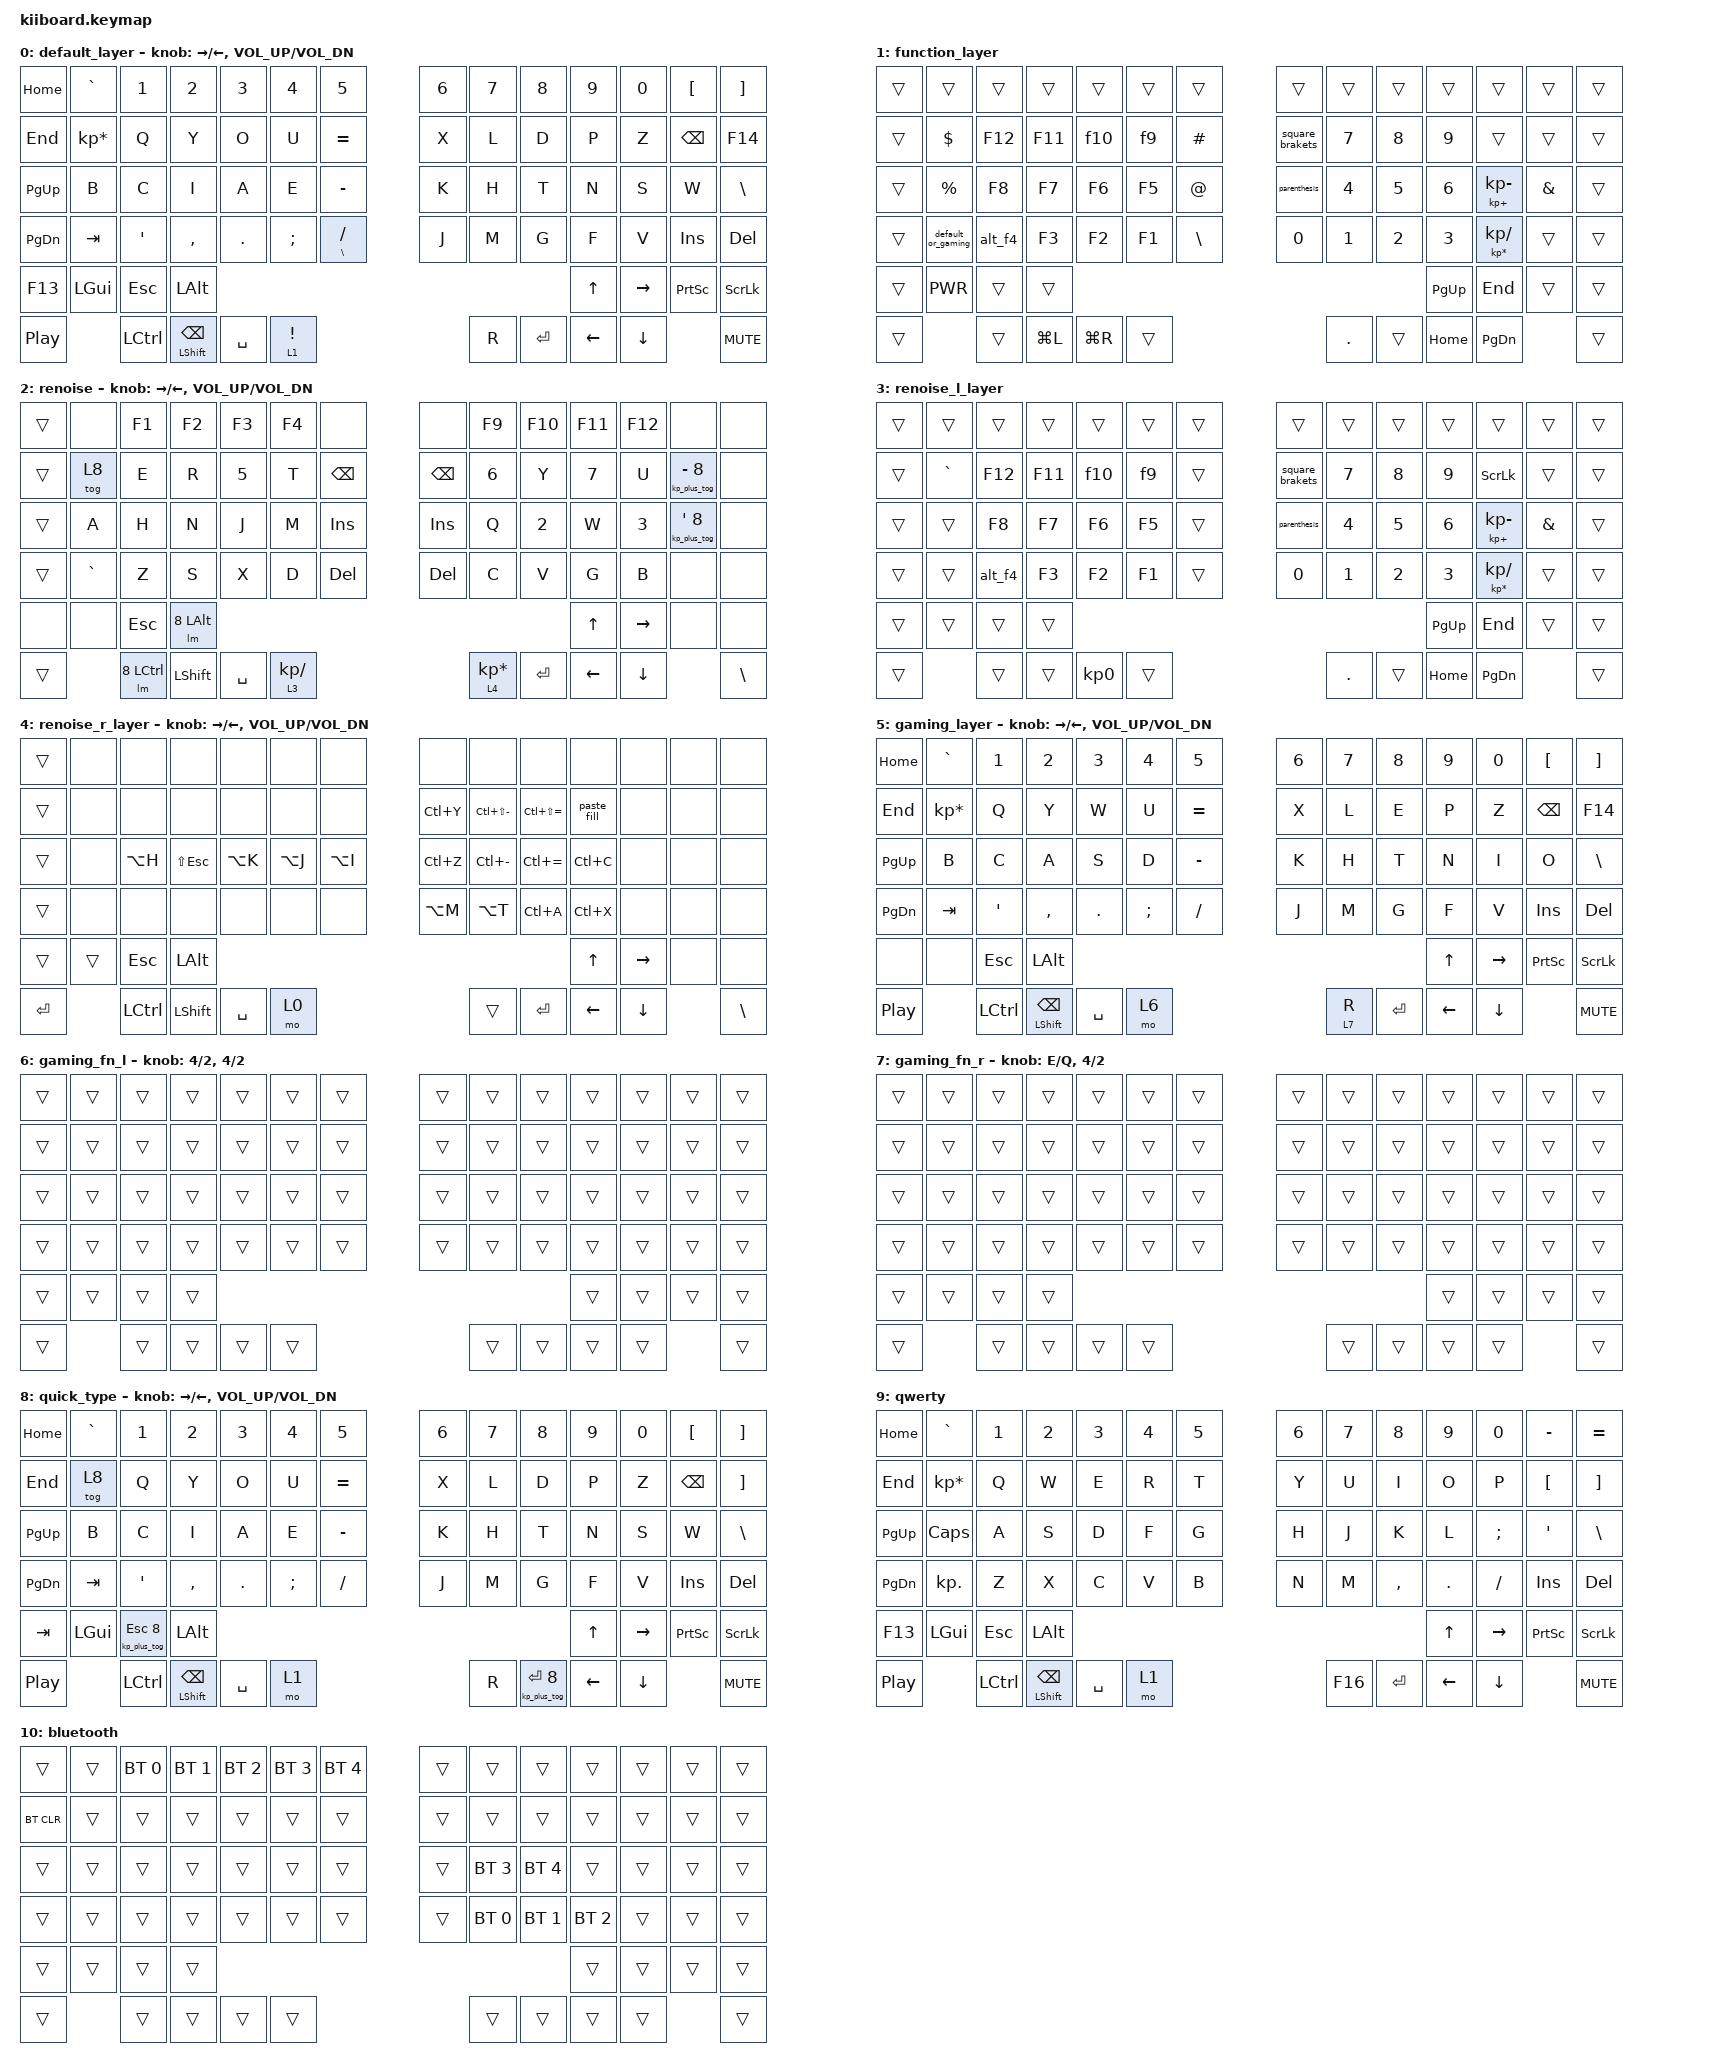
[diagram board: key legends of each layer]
#include <behaviors.dtsi>
#include <dt-bindings/zmk/bt.h>
#include <dt-bindings/zmk/keys.h>

&mt { tapping-term-ms = <150>; };

&lt { flavor = "hold-preferred"; };

/ {
    combos {
        compatible = "zmk,combos";

        bluetooth {
            bindings = <&mo 9>;
            key-positions = <8 12>;
            layers = <0>;
        };

        copy {
            bindings = <&kp LC(C)>;
            key-positions = <17 18>;
            layers = <0 2>;
            timeout-ms = <20>;
            require-prior-idle-ms = <20>;
        };

        paste {
            bindings = <&kp LC(V)>;
            key-positions = <18 19>;
            layers = <0 2>;
            timeout-ms = <20>;
            require-prior-idle-ms = <20>;
        };

        cut {
            bindings = <&kp LC(X)>;
            key-positions = <17 19>;
            layers = <0 2>;
            require-prior-idle-ms = <20>;
            timeout-ms = <20>;
        };

        undo {
            bindings = <&kp LC(Z)>;
            key-positions = <45 44>;
            layers = <0 2>;
            timeout-ms = <30>;
            require-prior-idle-ms = <30>;
        };

        redo {
            bindings = <&kp LC(Y)>;
            key-positions = <46 47>;
            layers = <0 2>;
            timeout-ms = <30>;
            require-prior-idle-ms = <30>;
        };

        redo_alt {
            bindings = <&kp LC(LS(Z))>;
            key-positions = <46 47 45>;
            layers = <0>;
            timeout-ms = <30>;
            require-prior-idle-ms = <30>;
        };

        to_bootloader {
            bindings = <&bootloader>;
            key-positions = <56 13 63 0>;
        };

        toggle_reference_track {
            bindings = <&kp KP_DOT>;
            key-positions = <70 69>;
            layers = <2>;
        };

        save {
            bindings = <&kp LC(S)>;
            key-positions = <47 46 45 44>;
            timeout-ms = <30>;
            require-prior-idle-ms = <30>;
            layers = <0 2>;
        };

        renoise_layer {
            bindings = <&tog 2>;
            key-positions = <55 63>;
        };

        gaming_layer {
            bindings = <&tog 5>;
            key-positions = <55 63 41>;
        };

        caps_lock {
            bindings = <&kp CAPS>;
            key-positions = <58 66>;
            timeout-ms = <30>;
            require-prior-idle-ms = <30>;
            layers = <0>;
        };
    };

    macros {
        kp_plus_tog: kp_plus_to {
            /**
            * Executes a keypress of choosing. Then toggles a chosen layer.
            *
            *
            * Params:
            *  1. Desired keypress
            *  2. Layer to toggle
            *
            * Example:
            *  `&kp_plus_to KEYPRESS NUM_LAYER`
            */

            compatible = "zmk,behavior-macro-two-param";
            wait-ms = <0>;
            tap-ms = <0>;
            #binding-cells = <2>;
            bindings =
                <&macro_param_1to1>,
                <&macro_tap>,
                <&kp MACRO_PLACEHOLDER &macro_param_2to1>,
                <&macro_tap>,
                <&tog MACRO_PLACEHOLDER>;
        };

        mo_plus_ctrl: mo_plus_ctrl {
            /**
            * Switches to a layer (`&mo`) while a holding CTRL.
            * Goes to another layer after release. Generally used to return to the initial layer, hence "mo".
            *
            * Params:
            *  1. Layer to switch to
            *  2. Layer to return to
            *
            * Example:
            *  `&mo_plus_ctrl NUM_LAYER NUM_LAYER`
            */

            compatible = "zmk,behavior-macro-two-param";
            wait-ms = <0>;
            tap-ms = <0>;
            #binding-cells = <2>;
            bindings =
                <&macro_param_1to1>,
                <&macro_tap>,
                <&to MACRO_PLACEHOLDER>,
                <&macro_press>,
                <&kp LCTRL>,
                <&macro_pause_for_release>,
                <&macro_release>,
                <&kp LCTRL &macro_param_2to1>,
                <&macro_tap>,
                <&to MACRO_PLACEHOLDER>;
        };

        lm: lm {
            /**
             * Temporarily switches to a layer (`&mo`) while a modifier is held.
             * Analogous to QMK's `LM()`, using a parameterized macro.
             *
             * Params:
             *  1. Layer to switch to
             *  2. Modifier to press while layer is active
             *
             * Example:
             *  `&lm NUM_LAYER LSHIFT`
             */

            compatible = "zmk,behavior-macro-two-param";
            wait-ms = <0>;
            tap-ms = <0>;
            #binding-cells = <2>;
            bindings =
                <&macro_param_1to1>,
                <&macro_press>,
                <&mo MACRO_PLACEHOLDER &macro_param_2to1>,
                <&macro_press>,
                <&kp MACRO_PLACEHOLDER>,
                <&macro_pause_for_release>,
                <&macro_param_2to1>,
                <&macro_release>,
                <&kp MACRO_PLACEHOLDER &macro_param_1to1>,
                <&macro_release>,
                <&mo MACRO_PLACEHOLDER>;
        };
    };

    behaviors {
        alt_f4: alt_f4 {
            compatible = "zmk,behavior-tap-dance";
            label = "ALT_F4";
            #binding-cells = <0>;
            bindings = <&kp F4>, <&kp LA(F4)>;
        };

        paste_fill: paste_fill {
            compatible = "zmk,behavior-tap-dance";
            label = "PASTE_FILL";
            #binding-cells = <0>;
            bindings = <&kp LC(V)>, <&kp LC(P)>;
        };

        parenthesis: parenthesis {
            compatible = "zmk,behavior-tap-dance";
            label = "PARENTHESIS";
            #binding-cells = <0>;
            bindings = <&kp LEFT_PARENTHESIS>, <&kp RIGHT_PARENTHESIS>;
        };

        square_brakets: square_brakets {
            compatible = "zmk,behavior-tap-dance";
            label = "SQUARE_BRAKETS";
            #binding-cells = <0>;
            bindings = <&kp LEFT_BRACKET>, <&kp RIGHT_BRACKET>;
        };

        f9: f9 {
            compatible = "zmk,behavior-tap-dance";
            label = "F9";
            #binding-cells = <0>;
            bindings = <&kp F9>, <&kp C_NEXT>;
        };

        f10: f10 {
            compatible = "zmk,behavior-tap-dance";
            label = "F10";
            #binding-cells = <0>;
            bindings = <&kp F10>, <&kp C_PREV>;
        };

        typing_or_default: typing_or_default {
            compatible = "zmk,behavior-tap-dance";
            label = "TYPING_OR_DEFAULT";
            #binding-cells = <0>;
            bindings = <&to 0>, <&to 0>;
        };

        default_or_gaming: default_or_gaming {
            compatible = "zmk,behavior-tap-dance";
            label = "DEFAULT_OR_GAMING";
            #binding-cells = <0>;
            bindings = <&to 0>, <&to 5>;
        };
    };

    keymap {
        compatible = "zmk,keymap";

        default_layer {
            // ---------------------------------------------------------------------------------------------------------------------------------------------------------------
            // |  HOME   |    `    |    1    |    2    |    3    |    4    |    5    |                 |    6    |    7    |    8    |    9    |    0    |    [    |    ]    |
            // |   END   |    *    |    Q    |    Y    |    O    |    U    |    =    |                 |    X    |    L    |    D    |    P    |    Z    |   BACK  |    ]    |
            // |  PGUP   |    B    |    C    |    I    |    A    |    E    |    -    |                 |    K    |    H    |    T    |　  N    |    S    |    W    |    /    |
            // |  PGDWN  |    .    |    '    |    ,    |    .    |    ;    |    /    |                 |    J    |    M    |    G    |    F    |    V    |   INS   |   DEL   |
            // |    ?    |    ?    |   ESC   |   ALT   |                                                                             |    UP   |  RIGHT  |  PSCRN  |   SLCK  |
            // |   ENC   |         |   CTL   |   SFT   |   SPC   |    ?    |                                     |    R    |   ENT   |   LFT   |   DWN   |         |   ENC   |

            bindings = <
&kp HOME   &kp GRAVE        &kp N1     &kp N2           &kp N3     &kp N4      &kp N5               &kp N6  &kp N7  &kp N8   &kp N9    &kp N0     &kp LBKT   &kp RBKT
&kp END    &kp KP_MULTIPLY  &kp Q      &kp Y            &kp O      &kp U       &kp EQUAL            &kp X   &kp L   &kp D    &kp P     &kp Z      &kp BSPC   &kp F14
&kp PG_UP  &kp B            &kp C      &kp I            &kp A      &kp E       &kp MINUS            &kp K   &kp H   &kp T    &kp N     &kp S      &kp W      &kp BACKSLASH
&kp PG_DN  &kp TAB          &kp SQT    &kp COMMA        &kp DOT    &kp SEMI    &mt BACKSLASH SLASH  &kp J   &kp M   &kp G    &kp F     &kp V      &kp INS    &kp DEL
&kp F13    &kp LGUI         &kp ESC    &kp LALT                                                                              &kp UP    &kp RIGHT  &kp PSCRN  &kp SLCK
&kp C_PP                    &kp LCTRL  &mt LSHIFT BSPC  &kp SPACE  &lt 1 EXCL                               &kp R   &kp RET  &kp LEFT  &kp DOWN              &kp C_MUTE
            >;

            sensor-bindings = <&inc_dec_kp RIGHT LEFT &inc_dec_kp C_VOL_UP C_VOL_DN>;
        };

        function_layer {
            bindings = <
&trans  &trans              &trans   &trans     &trans     &trans  &trans         &trans           &trans      &trans  &trans     &trans                     &trans    &trans
&trans  &kp DOLLAR          &kp F12  &kp F11    &f10       &f9     &kp POUND      &square_brakets  &kp N7      &kp N8  &kp N9     &trans                     &trans    &trans
&trans  &kp PERCENT         &kp F8   &kp F7     &kp F6     &kp F5  &kp AT         &parenthesis     &kp N4      &kp N5  &kp N6     &mt KP_PLUS KP_MINUS       &kp AMPS  &trans
&trans  &default_or_gaming  &alt_f4  &kp F3     &kp F2     &kp F1  &kp BACKSLASH  &kp N0           &kp N1      &kp N2  &kp N3     &mt KP_MULTIPLY KP_DIVIDE  &trans    &trans
&trans  &kp C_PWR           &trans   &trans                                                                            &kp PG_UP  &kp END                    &trans    &trans
&trans                      &trans   &kp LG(L)  &kp LG(R)  &trans                                  &kp PERIOD  &trans  &kp HOME   &kp PG_DN                            &trans
            >;
        };

        renoise {
            bindings = <
&trans  &none      &kp F1       &kp F2          &kp F3     &kp F4           &none     &none          &kp F9             &kp F10    &kp F11   &kp F12    &none                 &none
&trans  &tog 8     &kp E        &kp R           &kp N5     &kp T            &kp BSPC  &kp BACKSPACE  &kp N6             &kp Y      &kp N7    &kp U      &kp_plus_tog MINUS 8  &none
&trans  &kp A      &kp H        &kp N           &kp J      &kp M            &kp INS   &kp INSERT     &kp Q              &kp N2     &kp W     &kp N3     &kp_plus_tog SQT 8    &none
&trans  &kp GRAVE  &kp Z        &kp S           &kp X      &kp D            &kp DEL   &kp DEL        &kp C              &kp V      &kp G     &kp B      &none                 &none
&none   &none      &kp ESC      &lm 8 LALT                                                                                         &kp UP    &kp RIGHT  &none                 &none
&trans             &lm 8 LCTRL  &kp LEFT_SHIFT  &kp SPACE  &lt 3 KP_DIVIDE                           &lt 4 KP_ASTERISK  &kp ENTER  &kp LEFT  &kp DOWN                         &kp BSLH
            >;

            sensor-bindings =
                <&inc_dec_kp RIGHT LEFT>,
                <&inc_dec_kp C_VOL_UP C_VOL_DN>;
        };

        renoise_l_layer {
            bindings = <
&trans  &trans     &trans   &trans   &trans     &trans  &trans  &trans           &trans      &trans  &trans     &trans                     &trans    &trans
&trans  &kp GRAVE  &kp F12  &kp F11  &f10       &f9     &trans  &square_brakets  &kp N7      &kp N8  &kp N9     &kp SCROLLLOCK             &trans    &trans
&trans  &trans     &kp F8   &kp F7   &kp F6     &kp F5  &trans  &parenthesis     &kp N4      &kp N5  &kp N6     &mt KP_PLUS KP_MINUS       &kp AMPS  &trans
&trans  &trans     &alt_f4  &kp F3   &kp F2     &kp F1  &trans  &kp N0           &kp N1      &kp N2  &kp N3     &mt KP_MULTIPLY KP_DIVIDE  &trans    &trans
&trans  &trans     &trans   &trans                                                                   &kp PG_UP  &kp END                    &trans    &trans
&trans             &trans   &trans   &kp KP_N0  &trans                           &kp PERIOD  &trans  &kp HOME   &kp PG_DN                            &trans
            >;
        };

        renoise_r_layer {
            bindings = <
&trans     &none   &none             &none           &none      &none      &none      &none      &none              &none              &none        &none      &none  &none
&trans     &none   &none             &none           &none      &none      &none      &kp LC(Y)  &kp LC(LS(MINUS))  &kp LC(LS(EQUAL))  &paste_fill  &none      &none  &none
&trans     &none   &kp LA(H)         &kp LS(ESCAPE)  &kp LA(K)  &kp LA(J)  &kp LA(I)  &kp LC(Z)  &kp LC(MINUS)      &kp LC(EQUAL)      &kp LC(C)    &none      &none  &none
&trans     &none   &none             &none           &none      &none      &none      &kp LA(M)  &kp LA(T)          &kp LC(A)          &kp LC(X)    &none      &none  &none
&trans     &trans  &kp ESC           &kp LEFT_ALT                                                                                      &kp UP       &kp RIGHT  &none  &none
&kp ENTER          &kp LEFT_CONTROL  &kp LEFT_SHIFT  &kp SPACE  &mo 0                            &trans             &kp ENTER          &kp LEFT     &kp DOWN          &kp BSLH
            >;

            sensor-bindings =
                <&inc_dec_kp RIGHT LEFT>,
                <&inc_dec_kp C_VOL_UP C_VOL_DN>;
        };

        gaming_layer {
            bindings = <
&kp HOME   &kp GRAVE        &kp N1     &kp N2           &kp N3     &kp N4    &kp N5     &kp N6  &kp N7   &kp N8   &kp N9    &kp N0     &kp LBKT   &kp RBKT
&kp END    &kp KP_MULTIPLY  &kp Q      &kp Y            &kp W      &kp U     &kp EQUAL  &kp X   &kp L    &kp E    &kp P     &kp Z      &kp BSPC   &kp F14
&kp PG_UP  &kp B            &kp C      &kp A            &kp S      &kp D     &kp MINUS  &kp K   &kp H    &kp T    &kp N     &kp I      &kp O      &kp BACKSLASH
&kp PG_DN  &kp TAB          &kp SQT    &kp COMMA        &kp DOT    &kp SEMI  &kp SLASH  &kp J   &kp M    &kp G    &kp F     &kp V      &kp INS    &kp DEL
&none      &none            &kp ESC    &kp LALT                                                                   &kp UP    &kp RIGHT  &kp PSCRN  &kp SLCK
&kp C_PP                    &kp LCTRL  &mt LSHIFT BSPC  &kp SPACE  &mo 6                        &lt 7 R  &kp RET  &kp LEFT  &kp DOWN              &kp C_MUTE
            >;

            sensor-bindings =
                <&inc_dec_kp RIGHT LEFT>,
                <&inc_dec_kp C_VOL_UP C_VOL_DN>;
        };

        gaming_fn_l {
            bindings = <
&trans  &trans  &trans  &trans  &trans  &trans  &trans  &trans  &trans  &trans  &trans  &trans  &trans  &trans
&trans  &trans  &trans  &trans  &trans  &trans  &trans  &trans  &trans  &trans  &trans  &trans  &trans  &trans
&trans  &trans  &trans  &trans  &trans  &trans  &trans  &trans  &trans  &trans  &trans  &trans  &trans  &trans
&trans  &trans  &trans  &trans  &trans  &trans  &trans  &trans  &trans  &trans  &trans  &trans  &trans  &trans
&trans  &trans  &trans  &trans                                                  &trans  &trans  &trans  &trans
&trans          &trans  &trans  &trans  &trans                  &trans  &trans  &trans  &trans          &trans
            >;

            sensor-bindings = <&inc_dec_kp N4 N2>, <&inc_dec_kp N4 NUMBER_2>;
        };

        gaming_fn_r {
            bindings = <
&trans  &trans  &trans  &trans  &trans  &trans  &trans  &trans  &trans  &trans  &trans  &trans  &trans  &trans
&trans  &trans  &trans  &trans  &trans  &trans  &trans  &trans  &trans  &trans  &trans  &trans  &trans  &trans
&trans  &trans  &trans  &trans  &trans  &trans  &trans  &trans  &trans  &trans  &trans  &trans  &trans  &trans
&trans  &trans  &trans  &trans  &trans  &trans  &trans  &trans  &trans  &trans  &trans  &trans  &trans  &trans
&trans  &trans  &trans  &trans                                                  &trans  &trans  &trans  &trans
&trans          &trans  &trans  &trans  &trans                  &trans  &trans  &trans  &trans          &trans
            >;

            sensor-bindings = <&inc_dec_kp E Q>, <&inc_dec_kp N4 NUMBER_2>;
        };

        quick_type {
            bindings = <
&kp HOME   &kp GRAVE  &kp N1              &kp N2           &kp N3     &kp N4    &kp N5     &kp N6  &kp N7  &kp N8                &kp N9    &kp N0     &kp LBKT   &kp RBKT
&kp END    &tog 8     &kp Q               &kp Y            &kp O      &kp U     &kp EQUAL  &kp X   &kp L   &kp D                 &kp P     &kp Z      &kp BSPC   &kp RBKT
&kp PG_UP  &kp B      &kp C               &kp I            &kp A      &kp E     &kp MINUS  &kp K   &kp H   &kp T                 &kp N     &kp S      &kp W      &kp BACKSLASH
&kp PG_DN  &kp TAB    &kp SQT             &kp COMMA        &kp DOT    &kp SEMI  &kp SLASH  &kp J   &kp M   &kp G                 &kp F     &kp V      &kp INS    &kp DEL
&kp TAB    &kp LGUI   &kp_plus_tog ESC 8  &kp LALT                                                                               &kp UP    &kp RIGHT  &kp PSCRN  &kp SLCK
&kp C_PP              &kp LCTRL           &mt LSHIFT BSPC  &kp SPACE  &mo 1                        &kp R   &kp_plus_tog ENTER 8  &kp LEFT  &kp DOWN              &kp C_MUTE
            >;

            sensor-bindings =
                <&inc_dec_kp RIGHT LEFT>,
                <&inc_dec_kp C_VOL_UP C_VOL_DN>;
        };

        qwerty {
            // ---------------------------------------------------------------------------------------------------------------------------------------------------------------
            // |  HOME   |    `    |    1    |    2    |    3    |    4    |    5    |                 |    6    |    7    |    8    |    9    |    0    |    -    |    =    |
            // |   END   |    *    |    Q    |    W    |    E    |    R    |    T    |                 |    Y    |    U    |    I    |    O    |    P    |    [    |    ]    |
            // |  PGUP   |    -    |    A    |    S    |    D    |    F    |    G    |                 |    H    |    J    |    K    |　  L    |    ;    |    '    |    /    |
            // |  PGDWN  |    .    |    Z    |    X    |    C    |    V    |    B    |                 |    N    |    M    |    ,    |    .    |    /    |   INS   |   DEL   |
            // |    ?    |    ?    |   ESC   |   ALT   |                                                                             |    UP   |  RIGHT  |  PSCRN  |   SLCK  |
            // |   ENC   |         |   CTL   |   SFT   |   SPC   |    ?    |                                     |    ?    |   ENT   |   LFT   |   DWN   |         |   ENC   |

            bindings = <
&kp HOME   &kp GRAVE        &kp N1     &kp N2                    &kp N3     &kp N4  &kp N5  &kp N6  &kp N7   &kp N8     &kp N9    &kp N0     &kp MINUS  &kp EQUAL
&kp END    &kp KP_MULTIPLY  &kp Q      &kp W                     &kp E      &kp R   &kp T   &kp Y   &kp U    &kp I      &kp O     &kp P      &kp LBKT   &kp RBKT
&kp PG_UP  &kp CAPS         &kp A      &kp S                     &kp D      &kp F   &kp G   &kp H   &kp J    &kp K      &kp L     &kp SEMI   &kp SQT    &kp BACKSLASH
&kp PG_DN  &kp KP_DOT       &kp Z      &kp X                     &kp C      &kp V   &kp B   &kp N   &kp M    &kp COMMA  &kp DOT   &kp SLASH  &kp INS    &kp DEL
&kp F13    &kp LEFT_GUI     &kp ESC    &kp LALT                                                                         &kp UP    &kp RIGHT  &kp PSCRN  &kp SLCK
&kp C_PP                    &kp LCTRL  &mt LEFT_SHIFT BACKSPACE  &kp SPACE  &mo 1                   &kp F16  &kp RET    &kp LEFT  &kp DOWN              &kp C_MUTE
            >;
        };

        bluetooth {
            bindings = <
&trans      &trans  &bt BT_SEL 0  &bt BT_SEL 1  &bt BT_SEL 2  &bt BT_SEL 3  &bt BT_SEL 4  &trans  &trans        &trans        &trans        &trans  &trans  &trans
&bt BT_CLR  &trans  &trans        &trans        &trans        &trans        &trans        &trans  &trans        &trans        &trans        &trans  &trans  &trans
&trans      &trans  &trans        &trans        &trans        &trans        &trans        &trans  &bt BT_SEL 3  &bt BT_SEL 4  &trans        &trans  &trans  &trans
&trans      &trans  &trans        &trans        &trans        &trans        &trans        &trans  &bt BT_SEL 0  &bt BT_SEL 1  &bt BT_SEL 2  &trans  &trans  &trans
&trans      &trans  &trans        &trans                                                                                      &trans        &trans  &trans  &trans
&trans              &trans        &trans        &trans        &trans                              &trans        &trans        &trans        &trans          &trans
            >;
        };
    };
};
